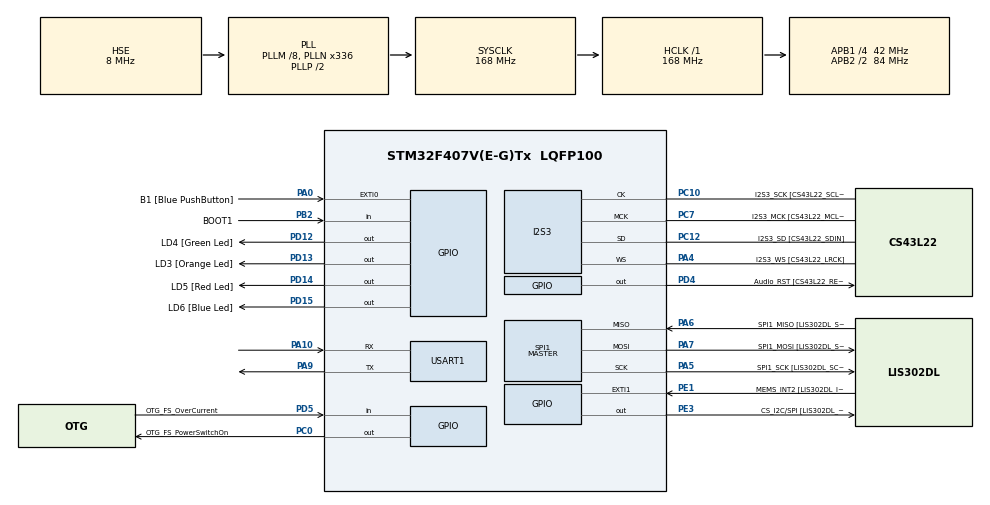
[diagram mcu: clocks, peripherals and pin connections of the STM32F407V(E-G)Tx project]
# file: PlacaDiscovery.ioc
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Dma.Request0=USART1_RX
Dma.Request1=USART1_TX
Dma.USART1_RX.0.Direction=DMA_PERIPH_TO_MEMORY
Dma.USART1_RX.0.FIFOMode=DMA_FIFOMODE_DISABLE
Dma.USART1_RX.0.Instance=DMA2_Stream2
Dma.USART1_RX.0.MemDataAlignment=DMA_MDATAALIGN_BYTE
Dma.USART1_RX.0.MemInc=DMA_MINC_ENABLE
Dma.USART1_RX.0.Mode=DMA_NORMAL
Dma.USART1_RX.0.PeriphDataAlignment=DMA_PDATAALIGN_BYTE
Dma.USART1_RX.0.PeriphInc=DMA_PINC_DISABLE
Dma.USART1_RX.0.Priority=DMA_PRIORITY_LOW
Dma.USART1_TX.1.Direction=DMA_MEMORY_TO_PERIPH
Dma.USART1_TX.1.FIFOMode=DMA_FIFOMODE_DISABLE
Dma.USART1_TX.1.Instance=DMA2_Stream7
Dma.USART1_TX.1.MemDataAlignment=DMA_MDATAALIGN_BYTE
Dma.USART1_TX.1.MemInc=DMA_MINC_ENABLE
Dma.USART1_TX.1.Mode=DMA_NORMAL
Dma.USART1_TX.1.PeriphDataAlignment=DMA_PDATAALIGN_BYTE
Dma.USART1_TX.1.PeriphInc=DMA_PINC_DISABLE
Dma.USART1_TX.1.Priority=DMA_PRIORITY_LOW
I2S3.AudioFreq-Half_Duplex_Master=I2S_AUDIOFREQ_96K
I2S3.ErrorAudioFreq=-2.34 %
I2S3.ErrorAudioFreq-Half_Duplex_Master=0.8 %
I2S3.FullDuplexMode=I2S_FULLDUPLEXMODE_DISABLE
I2S3.Instance=SPI$Index
I2S3.RealAudioFreq=93.75 KHz
I2S3.RealAudioFreq-Half_Duplex_Master=96.774 KHz
I2S3.VirtualMode=I2S_MODE_MASTER
Mcu.Family=STM32F4
Mcu.Name=STM32F407V(E-G)Tx
Mcu.Package=LQFP100
NVIC.DMA2_Stream2_IRQn=true\:0\:0\:false\:false\:true\:false\:true\:true
NVIC.DMA2_Stream7_IRQn=true\:0\:0\:false\:false\:true\:false\:true\:true
NVIC.EXTI0_IRQn=true\:0\:0\:false\:false\:true\:true\:true\:true
NVIC.PriorityGroup=NVIC_PRIORITYGROUP_0
NVIC.USART1_IRQn=true\:0\:0\:false\:false\:true\:true\:true\:true
PA0-WKUP.GPIO_Label=B1 [Blue PushButton]
PA0-WKUP.GPIO_ModeDefaultEXTI=GPIO_MODE_IT_RISING
PA0-WKUP.GPIO_PuPd=GPIO_NOPULL
PA0-WKUP.Signal=GPXTI0
PA10.GPIO_Speed=GPIO_SPEED_FREQ_HIGH
PA10.Mode=Asynchronous
PA10.Signal=USART1_RX
PA13.GPIO_Label=SWDIO
PA13.Mode=Serial_Wire
PA13.Signal=SYS_JTMS-SWDIO
PA14.GPIO_Label=SWCLK
PA14.Mode=Serial_Wire
PA14.Signal=SYS_JTCK-SWCLK
PA4.GPIO_Label=I2S3_WS [CS43L22_LRCK]
PA4.GPIO_Mode=GPIO_MODE_AF_PP
PA4.GPIO_PuPd=GPIO_NOPULL
PA4.GPIO_Speed=GPIO_SPEED_FREQ_LOW
PA4.Mode=Half_Duplex_Master
PA4.Signal=I2S3_WS
PA5.GPIO_Label=SPI1_SCK [LIS302DL_SCL/SPC]
PA5.GPIO_Mode=GPIO_MODE_AF_PP
PA5.GPIO_PuPd=GPIO_NOPULL
PA5.GPIO_Speed=GPIO_SPEED_FREQ_LOW
PA5.Mode=Full_Duplex_Master
PA5.Signal=SPI1_SCK
PA6.GPIO_Label=SPI1_MISO [LIS302DL_SDO]
PA6.GPIO_Mode=GPIO_MODE_AF_PP
PA6.GPIO_PuPd=GPIO_NOPULL
PA6.GPIO_Speed=GPIO_SPEED_FREQ_LOW
PA6.Mode=Full_Duplex_Master
PA6.Signal=SPI1_MISO
PA7.GPIO_Label=SPI1_MOSI [LIS302DL_SDA/SDI/SDO]
PA7.GPIO_Mode=GPIO_MODE_AF_PP
PA7.GPIO_PuPd=GPIO_NOPULL
PA7.GPIO_Speed=GPIO_SPEED_FREQ_LOW
PA7.Mode=Full_Duplex_Master
PA7.Signal=SPI1_MOSI
PA9.GPIO_Speed=GPIO_SPEED_FREQ_HIGH
PA9.Mode=Asynchronous
PA9.Signal=USART1_TX
PB10.GPIO_Label=CLK_IN [MP45DT02_CLK]
PB10.GPIO_Mode=GPIO_MODE_AF_PP
PB10.GPIO_PuPd=GPIO_NOPULL
PB10.GPIO_Speed=GPIO_SPEED_FREQ_LOW
PB10.Signal=I2S2_CK
PB2.GPIO_Label=BOOT1
PB2.GPIO_Mode=GPIO_MODE_INPUT
PB2.GPIO_PuPd=GPIO_NOPULL
PB2.Signal=GPIO_Input
PB3.GPIO_Label=SWO
PB3.Signal=SYS_JTDO-SWO
PB6.GPIO_Label=Audio_SCL [CS43L22_SCL]
PB6.GPIO_Mode=GPIO_MODE_AF_OD
PB6.GPIO_Pu=GPIO_PULLUP
PB6.GPIO_PuPd=GPIO_NOPULL
PB6.GPIO_Speed=GPIO_SPEED_FREQ_LOW
PB6.Signal=I2C1_SCL
PB9.GPIO_Label=Audio_SDA [CS43L22_SDA]
PB9.GPIO_Mode=GPIO_MODE_AF_OD
PB9.GPIO_Pu=GPIO_PULLUP
PB9.GPIO_PuPd=GPIO_NOPULL
PB9.GPIO_Speed=GPIO_SPEED_FREQ_LOW
PB9.Signal=I2C1_SDA
PC0.GPIO_Label=OTG_FS_PowerSwitchOn
PC0.GPIO_PuPd=GPIO_NOPULL
PC0.GPIO_Speed=GPIO_SPEED_FREQ_LOW
PC0.PinState=GPIO_PIN_SET
PC0.Signal=GPIO_Output
PC10.GPIO_Label=I2S3_SCK [CS43L22_SCLK]
PC10.GPIO_Mode=GPIO_MODE_AF_PP
PC10.GPIO_PuPd=GPIO_NOPULL
PC10.GPIO_Speed=GPIO_SPEED_FREQ_LOW
PC10.Mode=Half_Duplex_Master
PC10.Signal=I2S3_CK
PC12.GPIO_Label=I2S3_SD [CS43L22_SDIN]
PC12.GPIO_Mode=GPIO_MODE_AF_PP
PC12.GPIO_PuPd=GPIO_NOPULL
PC12.GPIO_Speed=GPIO_SPEED_FREQ_LOW
PC12.Mode=Half_Duplex_Master
PC12.Signal=I2S3_SD
PC14-OSC32_IN.GPIO_Label=PC14-OSC32_IN
PC14-OSC32_IN.Mode=LSE-External-Oscillator
PC14-OSC32_IN.Signal=RCC_OSC32_IN
PC15-OSC32_OUT.GPIO_Label=PC15-OSC32_OUT
PC15-OSC32_OUT.Mode=LSE-External-Oscillator
PC15-OSC32_OUT.Signal=RCC_OSC32_OUT
PC3.GPIO_Label=PDM_OUT [MP45DT02_DOUT]
PC3.GPIO_Mode=GPIO_MODE_AF_PP
PC3.GPIO_PuPd=GPIO_NOPULL
PC3.GPIO_Speed=GPIO_SPEED_FREQ_LOW
PC3.Signal=I2S2_SD
PC7.GPIO_Label=I2S3_MCK [CS43L22_MCLK]
PC7.GPIO_Mode=GPIO_MODE_AF_PP
PC7.GPIO_PuPd=GPIO_NOPULL
PC7.GPIO_Speed=GPIO_SPEED_FREQ_LOW
PC7.Mode=Master_Clock_Activated
PC7.Signal=I2S3_MCK
PD12.GPIO_Label=LD4 [Green Led]
PD12.GPIO_PuPd=GPIO_NOPULL
PD12.GPIO_Speed=GPIO_SPEED_FREQ_LOW
PD12.Signal=GPIO_Output
PD13.GPIO_Label=LD3 [Orange Led]
PD13.GPIO_PuPd=GPIO_NOPULL
PD13.GPIO_Speed=GPIO_SPEED_FREQ_LOW
PD13.Signal=GPIO_Output
PD14.GPIO_Label=LD5 [Red Led]
PD14.GPIO_PuPd=GPIO_NOPULL
PD14.GPIO_Speed=GPIO_SPEED_FREQ_LOW
PD14.Signal=GPIO_Output
PD15.GPIO_Label=LD6 [Blue Led]
PD15.GPIO_PuPd=GPIO_NOPULL
PD15.GPIO_Speed=GPIO_SPEED_FREQ_LOW
PD15.Signal=GPIO_Output
PD4.GPIO_Label=Audio_RST [CS43L22_RESET]
PD4.GPIO_PuPd=GPIO_NOPULL
PD4.GPIO_Speed=GPIO_SPEED_FREQ_LOW
PD4.Signal=GPIO_Output
PD5.GPIO_Label=OTG_FS_OverCurrent
PD5.GPIO_Mode=GPIO_MODE_INPUT
PD5.GPIO_PuPd=GPIO_NOPULL
PD5.Signal=GPIO_Input
PE1.GPIO_Label=MEMS_INT2 [LIS302DL_INT2]
PE1.GPIO_ModeDefaultEXTI=GPIO_MODE_EVT_RISING
PE1.GPIO_PuPd=GPIO_NOPULL
PE1.Signal=GPXTI1
PE3.GPIO_Label=CS_I2C/SPI [LIS302DL_CS_I2C/SPI]
PE3.GPIO_PuPd=GPIO_NOPULL
PE3.GPIO_Speed=GPIO_SPEED_FREQ_LOW
PE3.Signal=GPIO_Output
PH0-OSC_IN.GPIO_Label=PH0-OSC_IN
PH0-OSC_IN.Mode=HSE-External-Oscillator
PH0-OSC_IN.Signal=RCC_OSC_IN
PH1-OSC_OUT.GPIO_Label=PH1-OSC_OUT
PH1-OSC_OUT.Mode=HSE-External-Oscillator
PH1-OSC_OUT.Signal=RCC_OSC_OUT
ProjectManager.HeapSize=0x200
ProjectManager.StackSize=0x400
ProjectManager.TargetToolchain=STM32CubeIDE
RCC.48MHZClocksFreq_Value=48000000
RCC.AHBFreq_Value=168000000
RCC.APB1CLKDivider=RCC_HCLK_DIV4
RCC.APB1Freq_Value=42000000
RCC.APB1TimFreq_Value=84000000
RCC.APB2CLKDivider=RCC_HCLK_DIV2
RCC.APB2Freq_Value=84000000
RCC.APB2TimFreq_Value=168000000
RCC.CortexFreq_Value=168000000
RCC.HCLKFreq_Value=168000000
RCC.HSE_VALUE=8000000
RCC.HSI_VALUE=16000000
RCC.PLLM=8
RCC.PLLN=336
RCC.PLLQ=7
RCC.PLLSourceVirtual=RCC_PLLSOURCE_HSE
RCC.SYSCLKFreq_VALUE=168000000
RCC.SYSCLKSource=RCC_SYSCLKSOURCE_PLLCLK
RCC.VCOOutputFreq_Value=336000000
SPI1.BaudRatePrescaler-Full_Duplex_Master=SPI_BAUDRATEPRESCALER_2
SPI1.CalculateBaudRate-Full_Duplex_Master=42.0 MBits/s
SPI1.Direction=SPI_DIRECTION_2LINES
SPI1.Mode=SPI_MODE_MASTER
SPI1.Mode-Full_Duplex_Master=SPI_MODE_MASTER
SPI1.VirtualType=VM_MASTER
USART1.VirtualMode=VM_ASYNC
board=STM32F407G-DISC1

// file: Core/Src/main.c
/* USER CODE BEGIN Header */
/**
  ******************************************************************************
  * @file           : main.c
  * @brief          : Main program body
  ******************************************************************************
  * @attention
  *
  * Copyright (c) 2026 STMicroelectronics.
  * All rights reserved.
  *
  * This software is licensed under terms that can be found in the LICENSE file
  * in the root directory of this software component.
  * If no LICENSE file comes with this software, it is provided AS-IS.
  *
  ******************************************************************************
  */
/* USER CODE END Header */
#include "main.h"
#include <string.h>

I2S_HandleTypeDef hi2s3;

SPI_HandleTypeDef hspi1;

UART_HandleTypeDef huart1;
DMA_HandleTypeDef hdma_usart1_rx;
DMA_HandleTypeDef hdma_usart1_tx;

/* USER CODE BEGIN PV */
#define TEAM_TABLE_SIZE 120U

uint8_t contadorLed = 0;
char tabelaEquipe[120] ="1.Guilherme Santos, 202201\r\n""2.José Mário, 202202\r\n""3.Vinícius Moura, 202203\r\n";
uint8_t comando_rx = 0;
uint8_t send_table_pending = 0;
/* USER CODE END PV */

void SystemClock_Config(void);
static void MX_GPIO_Init(void);
static void MX_DMA_Init(void);
static void MX_I2S3_Init(void);
static void MX_SPI1_Init(void);
static void MX_USART1_UART_Init(void);

int main(void)
{

  /* MCU Configuration--------------------------------------------------------*/

  /* Reset of all peripherals, Initializes the Flash interface and the Systick. */
  HAL_Init();

  /* Configure the system clock */
  SystemClock_Config();

  /* Initialize all configured peripherals */
  MX_GPIO_Init();
  MX_DMA_Init();
  MX_I2S3_Init();
  MX_SPI1_Init();
  MX_USART1_UART_Init();
  /* USER CODE BEGIN 2 */
  HAL_UART_Receive_IT(&huart1, &comando_rx, 1);
  /* USER CODE END 2 */

  /* Infinite loop */
  while (1)
  {

  }
}

void SystemClock_Config(void)
{
  RCC_OscInitTypeDef RCC_OscInitStruct = {0};
  RCC_ClkInitTypeDef RCC_ClkInitStruct = {0};

  /** Configure the main internal regulator output voltage
  */
  __HAL_RCC_PWR_CLK_ENABLE();
  __HAL_PWR_VOLTAGESCALING_CONFIG(PWR_REGULATOR_VOLTAGE_SCALE1);

  /** Initializes the RCC Oscillators according to the specified parameters
  * in the RCC_OscInitTypeDef structure.
  */
  RCC_OscInitStruct.OscillatorType = RCC_OSCILLATORTYPE_HSE;
  RCC_OscInitStruct.HSEState = RCC_HSE_ON;
  RCC_OscInitStruct.PLL.PLLState = RCC_PLL_ON;
  RCC_OscInitStruct.PLL.PLLSource = RCC_PLLSOURCE_HSE;
  RCC_OscInitStruct.PLL.PLLM = 8;
  RCC_OscInitStruct.PLL.PLLN = 336;
  RCC_OscInitStruct.PLL.PLLP = RCC_PLLP_DIV2;
  RCC_OscInitStruct.PLL.PLLQ = 7;
  if (HAL_RCC_OscConfig(&RCC_OscInitStruct) != HAL_OK)
  {
    Error_Handler();
  }

  /** Initializes the CPU, AHB and APB buses clocks
  */
  RCC_ClkInitStruct.ClockType = RCC_CLOCKTYPE_HCLK|RCC_CLOCKTYPE_SYSCLK
                              |RCC_CLOCKTYPE_PCLK1|RCC_CLOCKTYPE_PCLK2;
  RCC_ClkInitStruct.SYSCLKSource = RCC_SYSCLKSOURCE_PLLCLK;
  RCC_ClkInitStruct.AHBCLKDivider = RCC_SYSCLK_DIV1;
  RCC_ClkInitStruct.APB1CLKDivider = RCC_HCLK_DIV4;
  RCC_ClkInitStruct.APB2CLKDivider = RCC_HCLK_DIV2;

  if (HAL_RCC_ClockConfig(&RCC_ClkInitStruct, FLASH_LATENCY_5) != HAL_OK)
  {
    Error_Handler();
  }
}

static void MX_I2S3_Init(void)
{

  hi2s3.Instance = SPI3;
  hi2s3.Init.Mode = I2S_MODE_MASTER_TX;
  hi2s3.Init.Standard = I2S_STANDARD_PHILIPS;
  hi2s3.Init.DataFormat = I2S_DATAFORMAT_16B;
  hi2s3.Init.MCLKOutput = I2S_MCLKOUTPUT_ENABLE;
  hi2s3.Init.AudioFreq = I2S_AUDIOFREQ_96K;
  hi2s3.Init.CPOL = I2S_CPOL_LOW;
  hi2s3.Init.ClockSource = I2S_CLOCK_PLL;
  hi2s3.Init.FullDuplexMode = I2S_FULLDUPLEXMODE_DISABLE;
  if (HAL_I2S_Init(&hi2s3) != HAL_OK)
  {
    Error_Handler();
  }

}

static void MX_SPI1_Init(void)
{

  /* SPI1 parameter configuration*/
  hspi1.Instance = SPI1;
  hspi1.Init.Mode = SPI_MODE_MASTER;
  hspi1.Init.Direction = SPI_DIRECTION_2LINES;
  hspi1.Init.DataSize = SPI_DATASIZE_8BIT;
  hspi1.Init.CLKPolarity = SPI_POLARITY_LOW;
  hspi1.Init.CLKPhase = SPI_PHASE_1EDGE;
  hspi1.Init.NSS = SPI_NSS_SOFT;
  hspi1.Init.BaudRatePrescaler = SPI_BAUDRATEPRESCALER_2;
  hspi1.Init.FirstBit = SPI_FIRSTBIT_MSB;
  hspi1.Init.TIMode = SPI_TIMODE_DISABLE;
  hspi1.Init.CRCCalculation = SPI_CRCCALCULATION_DISABLE;
  hspi1.Init.CRCPolynomial = 10;
  if (HAL_SPI_Init(&hspi1) != HAL_OK)
  {
    Error_Handler();
  }

}

static void MX_USART1_UART_Init(void)
{

  huart1.Instance = USART1;
  huart1.Init.BaudRate = 115200;
  huart1.Init.WordLength = UART_WORDLENGTH_8B;
  huart1.Init.StopBits = UART_STOPBITS_1;
  huart1.Init.Parity = UART_PARITY_NONE;
  huart1.Init.Mode = UART_MODE_TX_RX;
  huart1.Init.HwFlowCtl = UART_HWCONTROL_NONE;
  huart1.Init.OverSampling = UART_OVERSAMPLING_16;
  if (HAL_UART_Init(&huart1) != HAL_OK)
  {
    Error_Handler();
  }

}

static void MX_DMA_Init(void)
{

  /* DMA controller clock enable */
  __HAL_RCC_DMA2_CLK_ENABLE();

  /* DMA interrupt init */
  /* DMA2_Stream2_IRQn interrupt configuration */
  HAL_NVIC_SetPriority(DMA2_Stream2_IRQn, 0, 0);
  HAL_NVIC_EnableIRQ(DMA2_Stream2_IRQn);
  /* DMA2_Stream7_IRQn interrupt configuration */
  HAL_NVIC_SetPriority(DMA2_Stream7_IRQn, 0, 0);
  HAL_NVIC_EnableIRQ(DMA2_Stream7_IRQn);

}

static void MX_GPIO_Init(void)
{
  GPIO_InitTypeDef GPIO_InitStruct = {0};

  /* GPIO Ports Clock Enable */
  __HAL_RCC_GPIOE_CLK_ENABLE();
  __HAL_RCC_GPIOC_CLK_ENABLE();
  __HAL_RCC_GPIOH_CLK_ENABLE();
  __HAL_RCC_GPIOA_CLK_ENABLE();
  __HAL_RCC_GPIOB_CLK_ENABLE();
  __HAL_RCC_GPIOD_CLK_ENABLE();

  /*Configure GPIO pin Output Level */
  HAL_GPIO_WritePin(CS_I2C_SPI_GPIO_Port, CS_I2C_SPI_Pin, GPIO_PIN_RESET);

  /*Configure GPIO pin Output Level */
  HAL_GPIO_WritePin(OTG_FS_PowerSwitchOn_GPIO_Port, OTG_FS_PowerSwitchOn_Pin, GPIO_PIN_SET);

  /*Configure GPIO pin Output Level */
  HAL_GPIO_WritePin(GPIOD, LD4_Pin|LD3_Pin|LD5_Pin|LD6_Pin
                          |Audio_RST_Pin, GPIO_PIN_RESET);

  /*Configure GPIO pin : CS_I2C_SPI_Pin */
  GPIO_InitStruct.Pin = CS_I2C_SPI_Pin;
  GPIO_InitStruct.Mode = GPIO_MODE_OUTPUT_PP;
  GPIO_InitStruct.Pull = GPIO_NOPULL;
  GPIO_InitStruct.Speed = GPIO_SPEED_FREQ_LOW;
  HAL_GPIO_Init(CS_I2C_SPI_GPIO_Port, &GPIO_InitStruct);

  /*Configure GPIO pin : OTG_FS_PowerSwitchOn_Pin */
  GPIO_InitStruct.Pin = OTG_FS_PowerSwitchOn_Pin;
  GPIO_InitStruct.Mode = GPIO_MODE_OUTPUT_PP;
  GPIO_InitStruct.Pull = GPIO_NOPULL;
  GPIO_InitStruct.Speed = GPIO_SPEED_FREQ_LOW;
  HAL_GPIO_Init(OTG_FS_PowerSwitchOn_GPIO_Port, &GPIO_InitStruct);

  /*Configure GPIO pin : PDM_OUT_Pin */
  GPIO_InitStruct.Pin = PDM_OUT_Pin;
  GPIO_InitStruct.Mode = GPIO_MODE_AF_PP;
  GPIO_InitStruct.Pull = GPIO_NOPULL;
  GPIO_InitStruct.Speed = GPIO_SPEED_FREQ_LOW;
  GPIO_InitStruct.Alternate = GPIO_AF5_SPI2;
  HAL_GPIO_Init(PDM_OUT_GPIO_Port, &GPIO_InitStruct);

  /*Configure GPIO pin : B1_Pin */
  GPIO_InitStruct.Pin = B1_Pin;
  GPIO_InitStruct.Mode = GPIO_MODE_IT_RISING;
  GPIO_InitStruct.Pull = GPIO_NOPULL;
  HAL_GPIO_Init(B1_GPIO_Port, &GPIO_InitStruct);

  /*Configure GPIO pin : BOOT1_Pin */
  GPIO_InitStruct.Pin = BOOT1_Pin;
  GPIO_InitStruct.Mode = GPIO_MODE_INPUT;
  GPIO_InitStruct.Pull = GPIO_NOPULL;
  HAL_GPIO_Init(BOOT1_GPIO_Port, &GPIO_InitStruct);

  /*Configure GPIO pin : CLK_IN_Pin */
  GPIO_InitStruct.Pin = CLK_IN_Pin;
  GPIO_InitStruct.Mode = GPIO_MODE_AF_PP;
  GPIO_InitStruct.Pull = GPIO_NOPULL;
  GPIO_InitStruct.Speed = GPIO_SPEED_FREQ_LOW;
  GPIO_InitStruct.Alternate = GPIO_AF5_SPI2;
  HAL_GPIO_Init(CLK_IN_GPIO_Port, &GPIO_InitStruct);

  /*Configure GPIO pins : LD4_Pin LD3_Pin LD5_Pin LD6_Pin
                           Audio_RST_Pin */
  GPIO_InitStruct.Pin = LD4_Pin|LD3_Pin|LD5_Pin|LD6_Pin
                          |Audio_RST_Pin;
  GPIO_InitStruct.Mode = GPIO_MODE_OUTPUT_PP;
  GPIO_InitStruct.Pull = GPIO_NOPULL;
  GPIO_InitStruct.Speed = GPIO_SPEED_FREQ_LOW;
  HAL_GPIO_Init(GPIOD, &GPIO_InitStruct);

  /*Configure GPIO pin : OTG_FS_OverCurrent_Pin */
  GPIO_InitStruct.Pin = OTG_FS_OverCurrent_Pin;
  GPIO_InitStruct.Mode = GPIO_MODE_INPUT;
  GPIO_InitStruct.Pull = GPIO_NOPULL;
  HAL_GPIO_Init(OTG_FS_OverCurrent_GPIO_Port, &GPIO_InitStruct);

  /*Configure GPIO pins : Audio_SCL_Pin Audio_SDA_Pin */
  GPIO_InitStruct.Pin = Audio_SCL_Pin|Audio_SDA_Pin;
  GPIO_InitStruct.Mode = GPIO_MODE_AF_OD;
  GPIO_InitStruct.Pull = GPIO_PULLUP;
  GPIO_InitStruct.Speed = GPIO_SPEED_FREQ_LOW;
  GPIO_InitStruct.Alternate = GPIO_AF4_I2C1;
  HAL_GPIO_Init(GPIOB, &GPIO_InitStruct);

  /*Configure GPIO pin : MEMS_INT2_Pin */
  GPIO_InitStruct.Pin = MEMS_INT2_Pin;
  GPIO_InitStruct.Mode = GPIO_MODE_EVT_RISING;
  GPIO_InitStruct.Pull = GPIO_NOPULL;
  HAL_GPIO_Init(MEMS_INT2_GPIO_Port, &GPIO_InitStruct);

  /* EXTI interrupt init*/
  HAL_NVIC_SetPriority(EXTI0_IRQn, 0, 0);
  HAL_NVIC_EnableIRQ(EXTI0_IRQn);

}

/* USER CODE BEGIN 4 */
//Incrementa a variável contador
void HAL_GPIO_EXTI_Callback(uint16_t GPIO_Pin) {
    if (GPIO_Pin == B1_Pin) {
        contadorLed++;
    }
}

void HAL_UART_RxCpltCallback(UART_HandleTypeDef *huart) {
    // Verifica se a interrupção veio da USART1
    if (huart->Instance == USART1) {

        // Verifica se o byte recebido é o comando esperado (0x5A)
        if (comando_rx == 0x5A) {

            // Envia valor atual do contador por Interrupção
          send_table_pending = 1;
            HAL_UART_Transmit_IT(&huart1, &contadorLed, 1);

            // Zera contador
            contadorLed = 0;
        }

        // Reativa a interrupção para continuar ouvindo o próximo comando
        HAL_UART_Receive_IT(&huart1, &comando_rx, 1);
    }
}

    void HAL_UART_TxCpltCallback(UART_HandleTypeDef *huart) {
      if ((huart->Instance == USART1) && (send_table_pending != 0U)) {
        send_table_pending = 0;
        HAL_UART_Transmit_DMA(&huart1, (uint8_t*)tabelaEquipe, TEAM_TABLE_SIZE);
      }
    }
/* USER CODE END 4 */

void Error_Handler(void)
{
  __disable_irq();
  while (1)
  {
  }
}
